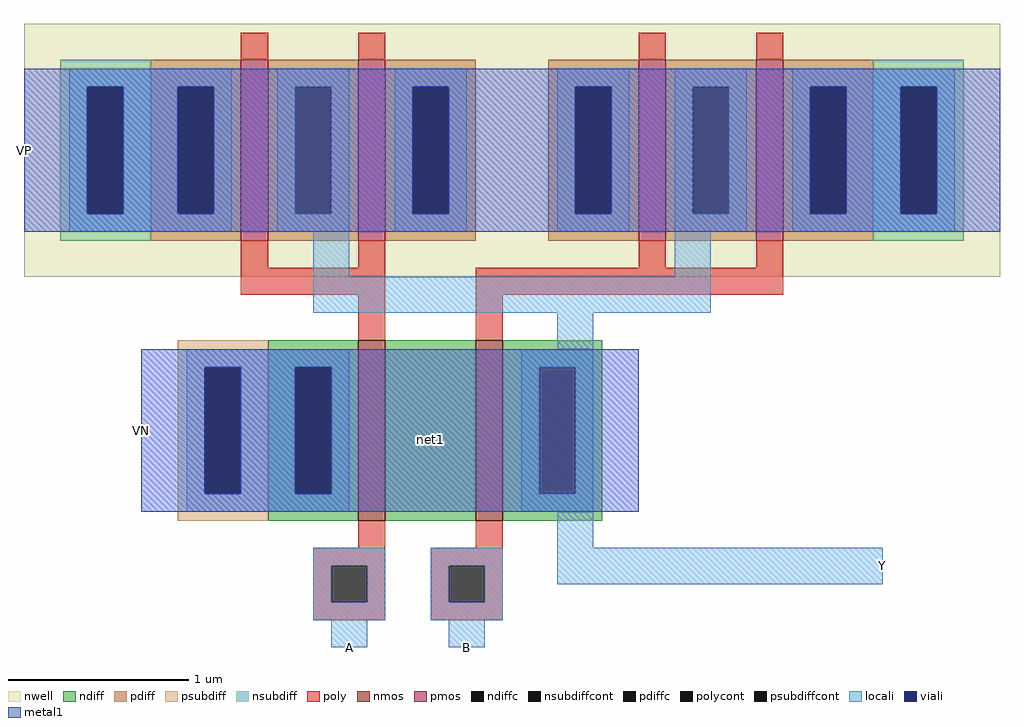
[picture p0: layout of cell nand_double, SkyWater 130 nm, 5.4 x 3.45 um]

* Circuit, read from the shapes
.subckt nand_double A B Y VN VP
XM1 net1 A VN VN sky130_fd_pr__nfet_01v8 w=1 l=0.15
XM2 Y B net1 VN sky130_fd_pr__nfet_01v8 w=1 l=0.15
XM3 Y A VP VP sky130_fd_pr__pfet_01v8 w=1 l=0.15 m=2
XM4 Y B VP VP sky130_fd_pr__pfet_01v8 w=1 l=0.15 m=2
.ends

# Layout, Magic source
magic
tech sky130A
<< nwell >>
rect -90 205 450 345
<< nmos >>
rect 95 70 110 170
rect 160 70 175 170
<< pmos >>
rect 30 225 45 325
rect 95 225 110 325
rect 250 225 265 325
rect 315 225 330 325
<< ndiff >>
rect 45 155 95 170
rect 45 85 60 155
rect 80 85 95 155
rect 45 70 95 85
rect 110 70 160 170
rect 175 155 230 170
rect 175 85 195 155
rect 215 85 230 155
rect 175 70 230 85
<< pdiff >>
rect -20 310 30 325
rect -20 240 -5 310
rect 15 240 30 310
rect -20 225 30 240
rect 45 310 95 325
rect 45 240 60 310
rect 80 240 95 310
rect 45 225 95 240
rect 110 310 160 325
rect 110 240 125 310
rect 145 240 160 310
rect 110 225 160 240
rect 200 310 250 325
rect 200 240 215 310
rect 235 240 250 310
rect 200 225 250 240
rect 265 310 315 325
rect 265 240 280 310
rect 300 240 315 310
rect 265 225 315 240
rect 330 310 380 325
rect 330 240 345 310
rect 365 240 380 310
rect 330 225 380 240
<< ndiffc >>
rect 60 85 80 155
rect 195 85 215 155
<< pdiffc >>
rect -5 240 15 310
rect 60 240 80 310
rect 125 240 145 310
rect 215 240 235 310
rect 280 240 300 310
rect 345 240 365 310
<< psubdiff >>
rect -5 155 45 170
rect -5 85 10 155
rect 30 85 45 155
rect -5 70 45 85
<< nsubdiff >>
rect -70 310 -20 325
rect -70 240 -55 310
rect -35 240 -20 310
rect -70 225 -20 240
rect 380 310 430 325
rect 380 240 395 310
rect 415 240 430 310
rect 380 225 430 240
<< psubdiffcont >>
rect 10 85 30 155
<< nsubdiffcont >>
rect -55 240 -35 310
rect 395 240 415 310
<< poly >>
rect 30 325 45 340
rect 95 325 110 340
rect 250 325 265 340
rect 315 325 330 340
rect 30 210 45 225
rect 95 210 110 225
rect 250 210 265 225
rect 315 210 330 225
rect 30 195 110 210
rect 95 170 110 195
rect 160 195 330 210
rect 160 170 175 195
rect 95 55 110 70
rect 160 55 175 70
rect 70 45 110 55
rect 70 25 80 45
rect 100 25 110 45
rect 70 15 110 25
rect 135 45 175 55
rect 135 25 145 45
rect 165 25 175 45
rect 135 15 175 25
<< polycont >>
rect 80 25 100 45
rect 145 25 165 45
<< locali >>
rect -65 310 25 320
rect -65 240 -55 310
rect -35 240 -5 310
rect 15 240 25 310
rect -65 230 25 240
rect 50 310 90 320
rect 50 240 60 310
rect 80 240 90 310
rect 50 230 90 240
rect 115 310 155 320
rect 115 240 125 310
rect 145 240 155 310
rect 115 230 155 240
rect 205 310 245 320
rect 205 240 215 310
rect 235 240 245 310
rect 205 230 245 240
rect 270 310 310 320
rect 270 240 280 310
rect 300 240 310 310
rect 270 230 310 240
rect 335 310 425 320
rect 335 240 345 310
rect 365 240 395 310
rect 415 240 425 310
rect 335 230 425 240
rect 70 205 90 230
rect 270 205 290 230
rect 70 185 290 205
rect 205 165 225 185
rect 0 155 90 165
rect 0 85 10 155
rect 30 85 60 155
rect 80 85 90 155
rect 0 75 90 85
rect 185 155 225 165
rect 185 85 195 155
rect 215 85 225 155
rect 185 75 225 85
rect 205 55 225 75
rect 70 45 110 55
rect 70 25 80 45
rect 100 25 110 45
rect 70 15 110 25
rect 135 45 175 55
rect 135 25 145 45
rect 165 25 175 45
rect 205 35 385 55
rect 135 15 175 25
rect 80 0 100 15
rect 145 0 165 15
<< viali >>
rect -55 240 -35 310
rect -5 240 15 310
rect 125 240 145 310
rect 215 240 235 310
rect 345 240 365 310
rect 395 240 415 310
rect 10 85 30 155
rect 60 85 80 155
<< metal1 >>
rect -90 310 450 320
rect -90 240 -55 310
rect -35 240 -5 310
rect 15 240 125 310
rect 145 240 215 310
rect 235 240 345 310
rect 365 240 395 310
rect 415 240 450 310
rect -90 230 450 240
rect -25 155 250 165
rect -25 85 10 155
rect 30 85 60 155
rect 80 85 250 155
rect -25 75 250 85
<< labels >>
rlabel locali 90 0 90 0 5 A
port 1 s
rlabel locali 155 0 155 0 5 B
port 2 s
rlabel locali 385 45 385 45 5 Y
port 3 s
rlabel metal1 -25 120 -25 120 7 VN
port 4 w
rlabel metal1 -90 275 -90 275 7 VP
port 5 w
rlabel ndiff 135 115 135 115 5 net1
<< end >>
